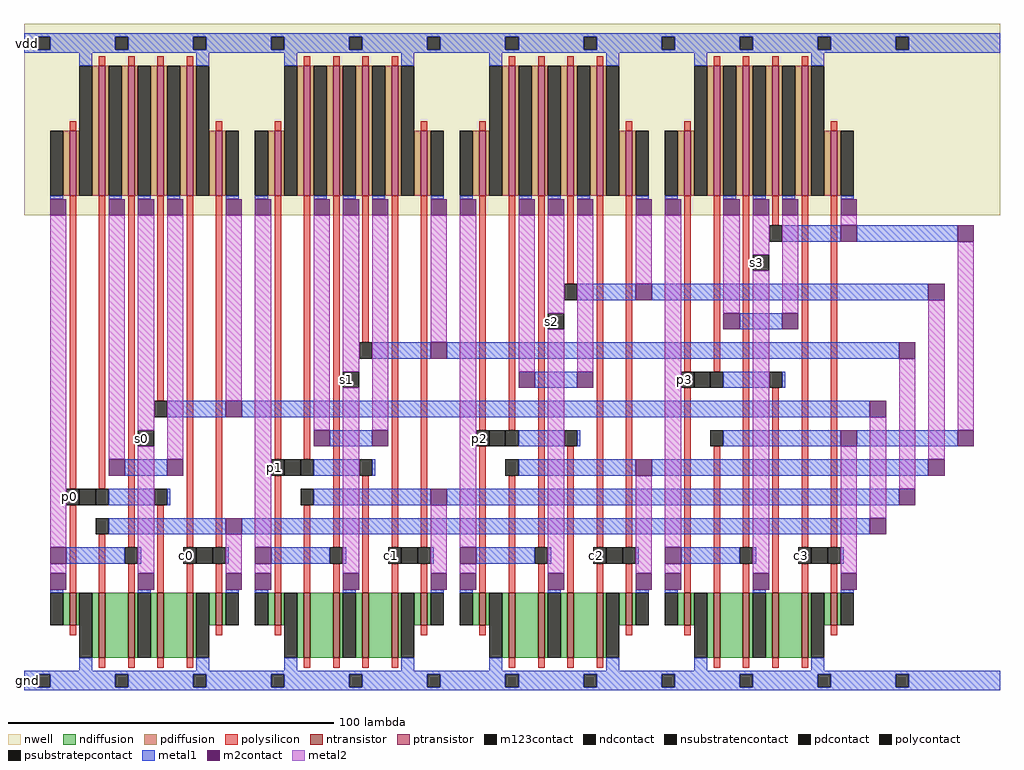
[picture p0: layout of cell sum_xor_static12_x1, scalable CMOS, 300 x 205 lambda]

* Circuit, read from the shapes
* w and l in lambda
.subckt sum_xor_static12_x1 c0 c1 c2 c3 p0 p1 p2 p3 s0 s1 s2 s3 vdd gnd
M1 gnd p0 n1 gnd nfet w=10 l=2
M2 n2 n3 gnd gnd nfet w=20 l=2
M3 s0 n1 n2 gnd nfet w=20 l=2
M4 n4 p0 s0 gnd nfet w=20 l=2
M5 gnd c0 n4 gnd nfet w=20 l=2
M6 n3 c0 gnd gnd nfet w=10 l=2
M7 gnd p1 n5 gnd nfet w=10 l=2
M8 n6 n7 gnd gnd nfet w=20 l=2
M9 s1 n5 n6 gnd nfet w=20 l=2
M10 n8 p1 s1 gnd nfet w=20 l=2
M11 gnd c1 n8 gnd nfet w=20 l=2
M12 n7 c1 gnd gnd nfet w=10 l=2
M13 gnd p2 n9 gnd nfet w=10 l=2
M14 n10 n11 gnd gnd nfet w=20 l=2
M15 s2 n9 n10 gnd nfet w=20 l=2
M16 n12 p2 s2 gnd nfet w=20 l=2
M17 gnd c2 n12 gnd nfet w=20 l=2
M18 n11 c2 gnd gnd nfet w=10 l=2
M19 gnd p3 n13 gnd nfet w=10 l=2
M20 n14 n15 gnd gnd nfet w=20 l=2
M21 s3 n13 n14 gnd nfet w=20 l=2
M22 n16 p3 s3 gnd nfet w=20 l=2
M23 gnd c3 n16 gnd nfet w=20 l=2
M24 n15 c3 gnd gnd nfet w=10 l=2
M25 vdd p0 n1 vdd pfet w=20 l=2
M26 n17 p0 vdd vdd pfet w=40 l=2
M27 s0 n1 n17 vdd pfet w=40 l=2
M28 n17 n3 s0 vdd pfet w=40 l=2
M29 vdd c0 n17 vdd pfet w=40 l=2
M30 n3 c0 vdd vdd pfet w=20 l=2
M31 vdd p1 n5 vdd pfet w=20 l=2
M32 n18 p1 vdd vdd pfet w=40 l=2
M33 s1 n5 n18 vdd pfet w=40 l=2
M34 n18 n7 s1 vdd pfet w=40 l=2
M35 vdd c1 n18 vdd pfet w=40 l=2
M36 n7 c1 vdd vdd pfet w=20 l=2
M37 vdd p2 n9 vdd pfet w=20 l=2
M38 n19 p2 vdd vdd pfet w=40 l=2
M39 s2 n9 n19 vdd pfet w=40 l=2
M40 n19 n11 s2 vdd pfet w=40 l=2
M41 vdd c2 n19 vdd pfet w=40 l=2
M42 n11 c2 vdd vdd pfet w=20 l=2
M43 vdd p3 n13 vdd pfet w=20 l=2
M44 n20 p3 vdd vdd pfet w=40 l=2
M45 s3 n13 n20 vdd pfet w=40 l=2
M46 n20 n15 s3 vdd pfet w=40 l=2
M47 vdd c3 n20 vdd pfet w=40 l=2
M48 n15 c3 vdd vdd pfet w=20 l=2
.ends

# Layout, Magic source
magic
tech scmos
<< nwell >>
rect 0 146 300 205
<< ntransistor >>
rect 14 20 16 30
rect 23 10 25 30
rect 32 10 34 30
rect 41 10 43 30
rect 50 10 52 30
rect 59 20 61 30
rect 77 20 79 30
rect 86 10 88 30
rect 95 10 97 30
rect 104 10 106 30
rect 113 10 115 30
rect 122 20 124 30
rect 140 20 142 30
rect 149 10 151 30
rect 158 10 160 30
rect 167 10 169 30
rect 176 10 178 30
rect 185 20 187 30
rect 203 20 205 30
rect 212 10 214 30
rect 221 10 223 30
rect 230 10 232 30
rect 239 10 241 30
rect 248 20 250 30
<< ptransistor >>
rect 14 152 16 172
rect 23 152 25 192
rect 32 152 34 192
rect 41 152 43 192
rect 50 152 52 192
rect 59 152 61 172
rect 77 152 79 172
rect 86 152 88 192
rect 95 152 97 192
rect 104 152 106 192
rect 113 152 115 192
rect 122 152 124 172
rect 140 152 142 172
rect 149 152 151 192
rect 158 152 160 192
rect 167 152 169 192
rect 176 152 178 192
rect 185 152 187 172
rect 203 152 205 172
rect 212 152 214 192
rect 221 152 223 192
rect 230 152 232 192
rect 239 152 241 192
rect 248 152 250 172
<< ndiffusion >>
rect 12 20 14 30
rect 16 20 17 30
rect 21 10 23 30
rect 25 10 32 30
rect 34 10 35 30
rect 39 10 41 30
rect 43 10 50 30
rect 52 10 53 30
rect 57 20 59 30
rect 61 20 62 30
rect 75 20 77 30
rect 79 20 80 30
rect 84 10 86 30
rect 88 10 95 30
rect 97 10 98 30
rect 102 10 104 30
rect 106 10 113 30
rect 115 10 116 30
rect 120 20 122 30
rect 124 20 125 30
rect 138 20 140 30
rect 142 20 143 30
rect 147 10 149 30
rect 151 10 158 30
rect 160 10 161 30
rect 165 10 167 30
rect 169 10 176 30
rect 178 10 179 30
rect 183 20 185 30
rect 187 20 188 30
rect 201 20 203 30
rect 205 20 206 30
rect 210 10 212 30
rect 214 10 221 30
rect 223 10 224 30
rect 228 10 230 30
rect 232 10 239 30
rect 241 10 242 30
rect 246 20 248 30
rect 250 20 251 30
<< pdiffusion >>
rect 12 152 14 172
rect 16 152 17 172
rect 21 152 23 192
rect 25 152 26 192
rect 30 152 32 192
rect 34 152 35 192
rect 39 152 41 192
rect 43 152 44 192
rect 48 152 50 192
rect 52 152 53 192
rect 57 152 59 172
rect 61 152 62 172
rect 75 152 77 172
rect 79 152 80 172
rect 84 152 86 192
rect 88 152 89 192
rect 93 152 95 192
rect 97 152 98 192
rect 102 152 104 192
rect 106 152 107 192
rect 111 152 113 192
rect 115 152 116 192
rect 120 152 122 172
rect 124 152 125 172
rect 138 152 140 172
rect 142 152 143 172
rect 147 152 149 192
rect 151 152 152 192
rect 156 152 158 192
rect 160 152 161 192
rect 165 152 167 192
rect 169 152 170 192
rect 174 152 176 192
rect 178 152 179 192
rect 183 152 185 172
rect 187 152 188 172
rect 201 152 203 172
rect 205 152 206 172
rect 210 152 212 192
rect 214 152 215 192
rect 219 152 221 192
rect 223 152 224 192
rect 228 152 230 192
rect 232 152 233 192
rect 237 152 239 192
rect 241 152 242 192
rect 246 152 248 172
rect 250 152 251 172
<< ndcontact >>
rect 8 20 12 30
rect 17 10 21 30
rect 35 10 39 30
rect 53 10 57 30
rect 62 20 66 30
rect 71 20 75 30
rect 80 10 84 30
rect 98 10 102 30
rect 116 10 120 30
rect 125 20 129 30
rect 134 20 138 30
rect 143 10 147 30
rect 161 10 165 30
rect 179 10 183 30
rect 188 20 192 30
rect 197 20 201 30
rect 206 10 210 30
rect 224 10 228 30
rect 242 10 246 30
rect 251 20 255 30
<< pdcontact >>
rect 8 152 12 172
rect 17 152 21 192
rect 26 152 30 192
rect 35 152 39 192
rect 44 152 48 192
rect 53 152 57 192
rect 62 152 66 172
rect 71 152 75 172
rect 80 152 84 192
rect 89 152 93 192
rect 98 152 102 192
rect 107 152 111 192
rect 116 152 120 192
rect 125 152 129 172
rect 134 152 138 172
rect 143 152 147 192
rect 152 152 156 192
rect 161 152 165 192
rect 170 152 174 192
rect 179 152 183 192
rect 188 152 192 172
rect 197 152 201 172
rect 206 152 210 192
rect 215 152 219 192
rect 224 152 228 192
rect 233 152 237 192
rect 242 152 246 192
rect 251 152 255 172
<< psubstratepcontact >>
rect 4 1 8 5
rect 28 1 32 5
rect 52 1 56 5
rect 76 1 80 5
rect 100 1 104 5
rect 124 1 128 5
rect 148 1 152 5
rect 172 1 176 5
rect 196 1 200 5
rect 220 1 224 5
rect 244 1 248 5
rect 268 1 272 5
<< nsubstratencontact >>
rect 4 197 8 201
rect 28 197 32 201
rect 52 197 56 201
rect 76 197 80 201
rect 100 197 104 201
rect 124 197 128 201
rect 148 197 152 201
rect 172 197 176 201
rect 196 197 200 201
rect 220 197 224 201
rect 244 197 248 201
rect 268 197 272 201
<< polysilicon >>
rect 23 192 25 195
rect 32 192 34 195
rect 41 192 43 195
rect 50 192 52 195
rect 86 192 88 195
rect 95 192 97 195
rect 104 192 106 195
rect 113 192 115 195
rect 149 192 151 195
rect 158 192 160 195
rect 167 192 169 195
rect 176 192 178 195
rect 212 192 214 195
rect 221 192 223 195
rect 230 192 232 195
rect 239 192 241 195
rect 14 172 16 175
rect 59 172 61 175
rect 77 172 79 175
rect 122 172 124 175
rect 140 172 142 175
rect 185 172 187 175
rect 203 172 205 175
rect 248 172 250 175
rect 14 62 16 152
rect 23 62 25 152
rect 14 30 16 57
rect 23 30 25 48
rect 32 44 34 152
rect 41 89 43 152
rect 32 30 34 39
rect 41 30 43 57
rect 50 44 52 152
rect 59 44 61 152
rect 77 71 79 152
rect 86 71 88 152
rect 50 30 52 39
rect 59 30 61 39
rect 77 30 79 66
rect 86 30 88 57
rect 95 44 97 152
rect 104 107 106 152
rect 95 30 97 39
rect 104 30 106 66
rect 113 44 115 152
rect 122 44 124 152
rect 140 80 142 152
rect 149 80 151 152
rect 113 30 115 39
rect 122 30 124 39
rect 140 30 142 75
rect 149 30 151 66
rect 158 44 160 152
rect 167 125 169 152
rect 158 30 160 39
rect 167 30 169 75
rect 176 44 178 152
rect 185 44 187 152
rect 203 98 205 152
rect 212 98 214 152
rect 176 30 178 39
rect 185 30 187 39
rect 203 30 205 93
rect 212 30 214 75
rect 221 44 223 152
rect 230 143 232 152
rect 221 30 223 39
rect 230 30 232 93
rect 239 44 241 152
rect 248 44 250 152
rect 239 30 241 39
rect 248 30 250 39
rect 14 17 16 20
rect 59 17 61 20
rect 77 17 79 20
rect 122 17 124 20
rect 140 17 142 20
rect 185 17 187 20
rect 203 17 205 20
rect 248 17 250 20
rect 23 7 25 10
rect 32 7 34 10
rect 41 7 43 10
rect 50 7 52 10
rect 86 7 88 10
rect 95 7 97 10
rect 104 7 106 10
rect 113 7 115 10
rect 149 7 151 10
rect 158 7 160 10
rect 167 7 169 10
rect 176 7 178 10
rect 212 7 214 10
rect 221 7 223 10
rect 230 7 232 10
rect 239 7 241 10
<< polycontact >>
rect 13 57 17 62
rect 22 57 26 62
rect 22 48 26 53
rect 40 84 44 89
rect 40 57 44 62
rect 31 39 35 44
rect 76 66 80 71
rect 85 66 89 71
rect 49 39 53 44
rect 58 39 62 44
rect 85 57 89 62
rect 103 102 107 107
rect 103 66 107 71
rect 94 39 98 44
rect 139 75 143 80
rect 148 75 152 80
rect 112 39 116 44
rect 121 39 125 44
rect 148 66 152 71
rect 166 120 170 125
rect 166 75 170 80
rect 157 39 161 44
rect 202 93 206 98
rect 211 93 215 98
rect 175 39 179 44
rect 184 39 188 44
rect 211 75 215 80
rect 229 138 233 143
rect 229 93 233 98
rect 220 39 224 44
rect 238 39 242 44
rect 247 39 251 44
<< metal1 >>
rect 0 201 300 202
rect 0 197 4 201
rect 8 197 28 201
rect 32 197 52 201
rect 56 197 76 201
rect 80 197 100 201
rect 104 197 124 201
rect 128 197 148 201
rect 152 197 172 201
rect 176 197 196 201
rect 200 197 220 201
rect 224 197 244 201
rect 248 197 268 201
rect 272 197 300 201
rect 0 196 300 197
rect 17 192 21 196
rect 53 192 57 196
rect 8 151 12 152
rect 26 151 30 152
rect 35 151 39 152
rect 80 192 84 196
rect 116 192 120 196
rect 44 151 48 152
rect 62 151 66 152
rect 71 151 75 152
rect 89 151 93 152
rect 98 151 102 152
rect 143 192 147 196
rect 179 192 183 196
rect 107 151 111 152
rect 125 151 129 152
rect 134 151 138 152
rect 152 151 156 152
rect 161 151 165 152
rect 206 192 210 196
rect 242 192 246 196
rect 170 151 174 152
rect 188 151 192 152
rect 197 151 201 152
rect 215 151 219 152
rect 224 151 228 152
rect 233 151 237 152
rect 251 151 255 152
rect 233 138 251 143
rect 256 138 287 143
rect 170 120 188 125
rect 193 120 278 125
rect 220 111 233 116
rect 107 102 125 107
rect 130 102 269 107
rect 157 93 170 98
rect 215 93 229 98
rect 233 93 234 98
rect 44 84 62 89
rect 67 84 260 89
rect 94 75 107 80
rect 152 75 166 80
rect 170 75 171 80
rect 215 75 251 80
rect 256 75 287 80
rect 31 66 44 71
rect 89 66 103 71
rect 107 66 108 71
rect 152 66 188 71
rect 193 66 278 71
rect 26 57 40 62
rect 44 57 45 62
rect 89 57 125 62
rect 130 57 269 62
rect 26 48 62 53
rect 67 48 260 53
rect 13 39 31 44
rect 35 39 36 44
rect 62 39 63 44
rect 76 39 94 44
rect 98 39 99 44
rect 125 39 126 44
rect 139 39 157 44
rect 161 39 162 44
rect 188 39 189 44
rect 202 39 220 44
rect 224 39 225 44
rect 251 39 252 44
rect 8 30 12 31
rect 35 30 39 31
rect 62 30 66 31
rect 71 30 75 31
rect 98 30 102 31
rect 125 30 129 31
rect 17 6 21 10
rect 53 6 57 10
rect 134 30 138 31
rect 161 30 165 31
rect 188 30 192 31
rect 80 6 84 10
rect 116 6 120 10
rect 197 30 201 31
rect 224 30 228 31
rect 251 30 255 31
rect 143 6 147 10
rect 179 6 183 10
rect 206 6 210 10
rect 242 6 246 10
rect 0 5 300 6
rect 0 1 4 5
rect 8 1 28 5
rect 32 1 52 5
rect 56 1 76 5
rect 80 1 100 5
rect 104 1 124 5
rect 128 1 148 5
rect 152 1 172 5
rect 176 1 196 5
rect 200 1 220 5
rect 224 1 244 5
rect 248 1 268 5
rect 272 1 300 5
rect 0 0 300 1
<< m2contact >>
rect 8 146 13 151
rect 26 146 31 151
rect 35 146 40 151
rect 44 146 49 151
rect 62 146 67 151
rect 71 146 76 151
rect 89 146 94 151
rect 98 146 103 151
rect 107 146 112 151
rect 125 146 130 151
rect 134 146 139 151
rect 152 146 157 151
rect 161 146 166 151
rect 170 146 175 151
rect 188 146 193 151
rect 197 146 202 151
rect 215 146 220 151
rect 224 146 229 151
rect 233 146 238 151
rect 251 146 256 151
rect 251 138 256 143
rect 287 138 292 143
rect 188 120 193 125
rect 278 120 283 125
rect 215 111 220 116
rect 233 111 238 116
rect 125 102 130 107
rect 269 102 274 107
rect 152 93 157 98
rect 170 93 175 98
rect 62 84 67 89
rect 260 84 265 89
rect 89 75 94 80
rect 107 75 112 80
rect 251 75 256 80
rect 287 75 292 80
rect 26 66 31 71
rect 44 66 49 71
rect 188 66 193 71
rect 278 66 283 71
rect 125 57 130 62
rect 269 57 274 62
rect 62 48 67 53
rect 260 48 265 53
rect 8 39 13 44
rect 71 39 76 44
rect 134 39 139 44
rect 197 39 202 44
rect 8 31 13 36
rect 35 31 40 36
rect 62 31 67 36
rect 71 31 76 36
rect 98 31 103 36
rect 125 31 130 36
rect 134 31 139 36
rect 161 31 166 36
rect 188 31 193 36
rect 197 31 202 36
rect 224 31 229 36
rect 251 31 256 36
<< metal2 >>
rect 8 44 13 146
rect 26 71 31 146
rect 35 80 40 146
rect 8 36 13 39
rect 35 36 40 75
rect 44 71 49 146
rect 62 89 67 146
rect 62 36 67 48
rect 71 44 76 146
rect 89 80 94 146
rect 98 98 103 146
rect 71 36 76 39
rect 98 36 103 93
rect 107 80 112 146
rect 125 107 130 146
rect 125 36 130 57
rect 134 44 139 146
rect 152 98 157 146
rect 161 116 166 146
rect 134 36 139 39
rect 161 36 166 111
rect 170 98 175 146
rect 188 125 193 146
rect 188 36 193 66
rect 197 44 202 146
rect 215 116 220 146
rect 224 134 229 146
rect 197 36 202 39
rect 224 36 229 129
rect 233 116 238 146
rect 251 143 256 146
rect 251 36 256 75
rect 260 53 265 84
rect 269 62 274 102
rect 278 71 283 120
rect 287 80 292 138
<< m123contact >>
rect 35 75 40 80
rect 17 57 22 62
rect 53 39 58 44
rect 98 93 103 98
rect 80 66 85 71
rect 116 39 121 44
rect 161 111 166 116
rect 143 75 148 80
rect 179 39 184 44
rect 224 129 229 134
rect 206 93 211 98
rect 242 39 247 44
<< labels >>
rlabel metal1 49 39 51 44 0 c0
port 1 nsew
rlabel metal1 112 39 114 44 0 c1
port 2 nsew
rlabel metal1 175 39 177 44 0 c2
port 3 nsew
rlabel metal1 238 39 240 44 0 c3
port 4 nsew
rlabel metal1 13 57 15 62 0 p0
port 5 nsew
rlabel metal1 76 66 78 71 0 p1
port 6 nsew
rlabel metal1 139 75 141 80 0 p2
port 7 nsew
rlabel metal1 202 93 204 98 0 p3
port 8 nsew
rlabel metal1 35 75 37 80 0 s0
port 9 nsew
rlabel metal1 98 93 100 98 0 s1
port 10 nsew
rlabel metal1 161 111 163 116 0 s2
port 11 nsew
rlabel metal1 224 129 226 134 0 s3
port 12 nsew
rlabel metal1 0 196 2 202 0 vdd
port 13 nsew
rlabel metal1 0 0 2 6 0 gnd
port 14 nsew
<< end >>
